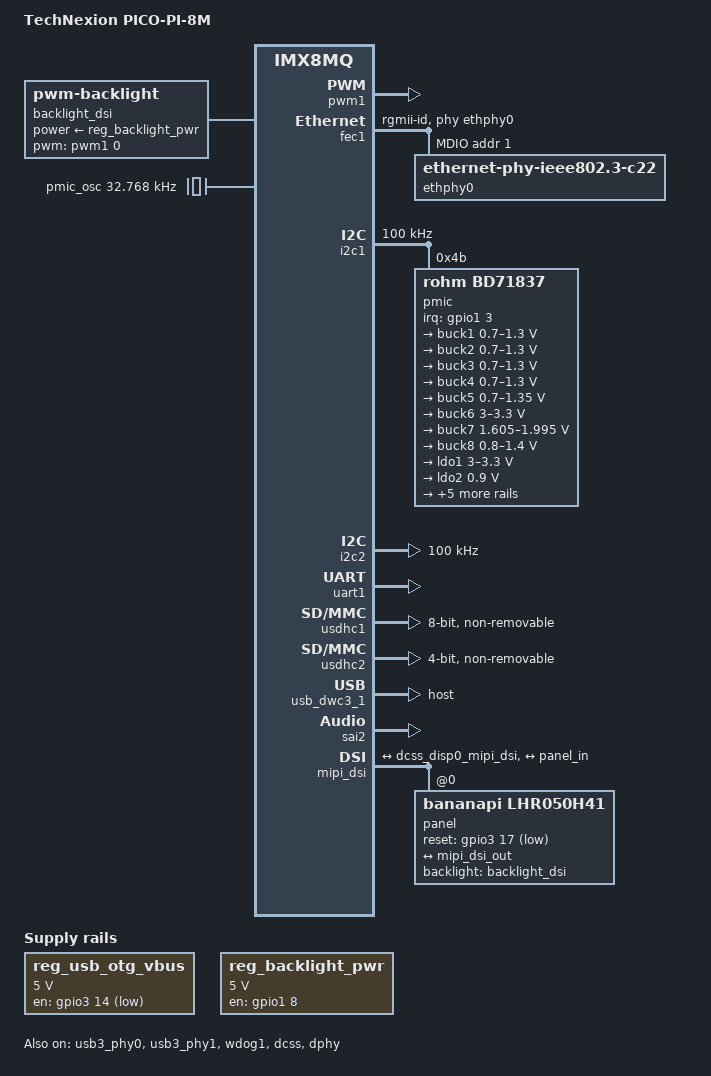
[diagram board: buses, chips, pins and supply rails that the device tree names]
// SPDX-License-Identifier: GPL-2.0+
/*
 * Copyright 2018 Wandboard, Org.
 * Copyright 2017 NXP
 *
 * Author: Richard Hu <hakahu@gmail.com>
 */

/dts-v1/;

#include "imx8mq.dtsi"

/ {
 model = "TechNexion PICO-PI-8M";
 compatible = "technexion,pico-pi-imx8m", "fsl,imx8mq";

 chosen {
   stdout-path = &uart1;
 };

 backlight_dsi: backlight-dsi {
    compatible = "pwm-backlight";
    pwms = <&pwm1 0 50000 0>;
    brightness-levels = <0 36 72 108 144 180 216 255>;
    default-brightness-level = <6>;
    power-supply = <&reg_backlight_pwr>;
    status = "okay";
  };

 pmic_osc: clock-pmic {
   compatible = "fixed-clock";
   #clock-cells = <0>;
   clock-frequency = <32768>;
   clock-output-names = "pmic_osc";
 };

 reg_usb_otg_vbus: regulator-usb-otg-vbus {
   pinctrl-names = "default";
   pinctrl-0 = <&pinctrl_otg_vbus>;
   compatible = "regulator-fixed";
   regulator-name = "usb_otg_vbus";
   regulator-min-microvolt = <5000000>;
   regulator-max-microvolt = <5000000>;
   gpio = <&gpio3 14 GPIO_ACTIVE_LOW>;
 };

 reg_backlight_pwr: regulator_blpwr {
      pinctrl-names = "default";
      pinctrl-0 = <&pinctrl_backlight_pwr>;
      compatible = "regulator-fixed";
      regulator-name = "backlight_pwr";
      regulator-min-microvolt = <5000000>;
      regulator-max-microvolt = <5000000>;
      gpio = <&gpio1 8 GPIO_ACTIVE_HIGH>;
      enable-active-high;
    };
};

&pwm1 {
  pinctrl-names = "default";
  pinctrl-0 = <&pinctrl_bl>;
  status = "okay";
};

&fec1 {
 pinctrl-names = "default";
 pinctrl-0 = <&pinctrl_fec1 &pinctrl_enet_3v3>;
 phy-mode = "rgmii-id";
 phy-handle = <&ethphy0>;
 fsl,magic-packet;
 status = "okay";

 mdio {
   #address-cells = <1>;
   #size-cells = <0>;

   ethphy0: ethernet-phy@1 {
     compatible = "ethernet-phy-ieee802.3-c22";
     reg = <1>;
   };
 };
};

&i2c1 {
 clock-frequency = <100000>;
 pinctrl-names = "default";
 pinctrl-0 = <&pinctrl_i2c1>;
 status = "okay";

 pmic: pmic@4b {
   reg = <0x4b>;
   compatible = "rohm,bd71837";
   /* PMIC BD71837 PMIC_nINT GPIO1_IO12 */
   pinctrl-names = "default";
   pinctrl-0 = <&pinctrl_pmic>;
   clocks = <&pmic_osc>;
   clock-names = "osc";
   clock-output-names = "pmic_clk";
   interrupt-parent = <&gpio1>;
   interrupts = <3 GPIO_ACTIVE_LOW>;
   interrupt-names = "irq";

   regulators {
     buck1: BUCK1 {
       regulator-name = "buck1";
       regulator-min-microvolt = <700000>;
       regulator-max-microvolt = <1300000>;
       regulator-boot-on;
       regulator-ramp-delay = <1250>;
       rohm,dvs-run-voltage = <900000>;
       rohm,dvs-idle-voltage = <850000>;
       rohm,dvs-suspend-voltage = <800000>;
     };

     buck2: BUCK2 {
       regulator-name = "buck2";
       regulator-min-microvolt = <700000>;
       regulator-max-microvolt = <1300000>;
       regulator-boot-on;
       regulator-ramp-delay = <1250>;
       rohm,dvs-run-voltage = <1000000>;
       rohm,dvs-idle-voltage = <900000>;
     };

     buck3: BUCK3 {
       regulator-name = "buck3";
       regulator-min-microvolt = <700000>;
       regulator-max-microvolt = <1300000>;
       regulator-boot-on;
       rohm,dvs-run-voltage = <1000000>;
     };

     buck4: BUCK4 {
       regulator-name = "buck4";
       regulator-min-microvolt = <700000>;
       regulator-max-microvolt = <1300000>;
       regulator-boot-on;
       rohm,dvs-run-voltage = <1000000>;
     };

     buck5: BUCK5 {
       regulator-name = "buck5";
       regulator-min-microvolt = <700000>;
       regulator-max-microvolt = <1350000>;
       regulator-boot-on;
     };

     buck6: BUCK6 {
       regulator-name = "buck6";
       regulator-min-microvolt = <3000000>;
       regulator-max-microvolt = <3300000>;
       regulator-boot-on;
     };

     buck7: BUCK7 {
       regulator-name = "buck7";
       regulator-min-microvolt = <1605000>;
       regulator-max-microvolt = <1995000>;
       regulator-boot-on;
     };

     buck8: BUCK8 {
       regulator-name = "buck8";
       regulator-min-microvolt = <800000>;
       regulator-max-microvolt = <1400000>;
       regulator-boot-on;
     };

     ldo1: LDO1 {
       regulator-name = "ldo1";
       regulator-min-microvolt = <3000000>;
       regulator-max-microvolt = <3300000>;
       regulator-boot-on;
       regulator-always-on;
     };

     ldo2: LDO2 {
       regulator-name = "ldo2";
       regulator-min-microvolt = <900000>;
       regulator-max-microvolt = <900000>;
       regulator-boot-on;
       regulator-always-on;
     };

     ldo3: LDO3 {
       regulator-name = "ldo3";
       regulator-min-microvolt = <1800000>;
       regulator-max-microvolt = <3300000>;
       regulator-boot-on;
     };

     ldo4: LDO4 {
       regulator-name = "ldo4";
       regulator-min-microvolt = <900000>;
       regulator-max-microvolt = <1800000>;
       regulator-boot-on;
     };

     ldo5: LDO5 {
       regulator-name = "ldo5";
       regulator-min-microvolt = <1800000>;
       regulator-max-microvolt = <3300000>;
       regulator-boot-on;
     };

     ldo6: LDO6 {
       regulator-name = "ldo6";
       regulator-min-microvolt = <900000>;
       regulator-max-microvolt = <1800000>;
       regulator-boot-on;
     };

     ldo7: LDO7 {
       regulator-name = "ldo7";
       regulator-min-microvolt = <1800000>;
       regulator-max-microvolt = <3300000>;
       regulator-boot-on;
     };
   };
 };
};

&i2c2 {
 clock-frequency = <100000>;
 pinctrl-names = "default";
 pinctrl-0 = <&pinctrl_i2c2>;
 status = "okay";
};

&uart1 { /* console */
 pinctrl-names = "default";
 pinctrl-0 = <&pinctrl_uart1>;
 status = "okay";
};

&usdhc1 {
 pinctrl-names = "default", "state_100mhz", "state_200mhz";
 pinctrl-0 = <&pinctrl_usdhc1>;
 pinctrl-1 = <&pinctrl_usdhc1_100mhz>;
 pinctrl-2 = <&pinctrl_usdhc1_200mhz>;
 bus-width = <8>;
 non-removable;
 status = "okay";
};

&usdhc2 {
 pinctrl-names = "default", "state_100mhz", "state_200mhz";
 pinctrl-0 = <&pinctrl_usdhc2>, <&pinctrl_usdhc2_gpio>;
 pinctrl-1 = <&pinctrl_usdhc2_100mhz>, <&pinctrl_usdhc2_gpio>;
 pinctrl-2 = <&pinctrl_usdhc2_200mhz>, <&pinctrl_usdhc2_gpio>;
 bus-width = <4>;
 non-removable;
 keep-power-in-suspend;
 //cd-gpios = <&gpio2 12 GPIO_ACTIVE_LOW>;
 status = "okay";
};

&usb3_phy0 {
 status = "okay";
};

&usb3_phy1 {
 status = "okay";
};

&usb_dwc3_1 {
 dr_mode = "host";
 status = "okay";
};

&wdog1 {
 pinctrl-names = "default";
 pinctrl-0 = <&pinctrl_wdog>;
 fsl,ext-reset-output;
 status = "okay";
};

&sai2 {
 pinctrl-names = "default";
 pinctrl-0 = <&pinctrl_sai2>;
 assigned-clocks = <&clk IMX8MQ_CLK_SAI2>;
 assigned-clock-parents = <&clk IMX8MQ_AUDIO_PLL1_OUT>;
 assigned-clock-rates = <24576000>;
 status = "okay";
};

&dcss {
  disp-dev = "mipi_disp";
  clocks = <&clk IMX8MQ_CLK_DISP_APB_ROOT>,
     <&clk IMX8MQ_CLK_DISP_AXI_ROOT>,
     <&clk IMX8MQ_CLK_DISP_RTRM_ROOT>,
     <&clk IMX8MQ_CLK_DC_PIXEL>,
     <&clk IMX8MQ_CLK_DUMMY>,
     <&clk IMX8MQ_CLK_DISP_DTRC>;
  clock-names = "apb", "axi", "rtrm", "pix_div", "pix_out", "dtrc";
  assigned-clocks = <&clk IMX8MQ_CLK_DC_PIXEL>,
        <&clk IMX8MQ_CLK_DISP_AXI>,
        <&clk IMX8MQ_CLK_DISP_RTRM>,
        <&clk IMX8MQ_CLK_DISP_RTRM_ROOT>,
                    <&clk IMX8MQ_VIDEO_PLL1_BYPASS>;
  assigned-clock-parents = <&clk IMX8MQ_VIDEO_PLL1_OUT>,
         <&clk IMX8MQ_SYS1_PLL_800M>,
         <&clk IMX8MQ_SYS1_PLL_800M>,
         <&clk IMX8MQ_CLK_DISP_RTRM>,
         <&clk IMX8MQ_VIDEO_PLL1>;
  assigned-clock-rates = <75000000>,
             <800000000>,
             <400000000>,
             <400000000>,
                         <0>;
  status = "okay";

  dcss_disp0: port@0 {
    dcss_disp0_mipi_dsi: endpoint {
      remote-endpoint = <&mipi_dsi_in>;
    };
  };
};

&dphy {
  status = "okay";
};

&mipi_dsi {
  status = "okay";
  panel@0 {
    compatible = "bananapi,lhr050h41", "ilitek,ili9881c";
    reg = <0>;
    backlight = <&backlight_dsi>;
    reset-gpios = <&gpio3 17 GPIO_ACTIVE_LOW>;
    port {
      panel_in: endpoint {
        remote-endpoint = <&mipi_dsi_out>;
      };
    };
  };

  ports {
    port@0 {
      mipi_dsi_in: endpoint {
        remote-endpoint = <&dcss_disp0_mipi_dsi>;
      };
    };
    port@1 {
      mipi_dsi_out: endpoint {
        remote-endpoint = <&panel_in>;
      };
    };
  };
};

&imx_disp_sub {
  ports = <&dcss_disp0>;
};


&iomuxc {
 pinctrl_enet_3v3: enet3v3grp {
   fsl,pins = <
     MX8MQ_IOMUXC_GPIO1_IO00_GPIO1_IO0 0x19
   >;
 };

 pinctrl_bl: blgrp {
    fsl,pins = <
      MX8MQ_IOMUXC_GPIO1_IO01_PWM1_OUT  0x6 /* DSI_BL_PWM */
    >;
  };

  pinctrl_backlight_pwr: backlight_pwrgrp {
      fsl,pins = <
        MX8MQ_IOMUXC_GPIO1_IO08_GPIO1_IO8   0x19
      >;
    };

 pinctrl_sai2: sai2grp {
    fsl,pins = <
    MX8MQ_IOMUXC_SAI2_TXFS_SAI2_TX_SYNC 0xd6
    MX8MQ_IOMUXC_SAI2_TXC_SAI2_TX_BCLK  0xd6
    MX8MQ_IOMUXC_SAI2_TXD0_SAI2_TX_DATA0  0xd6
    MX8MQ_IOMUXC_SAI2_RXD0_SAI2_RX_DATA0  0xd6
    MX8MQ_IOMUXC_SAI2_MCLK_SAI2_MCLK  0xd6
    >;
  };

 pinctrl_fec1: fec1grp {
   fsl,pins = <
     MX8MQ_IOMUXC_ENET_MDC_ENET1_MDC   0x3
     MX8MQ_IOMUXC_ENET_MDIO_ENET1_MDIO 0x23
     MX8MQ_IOMUXC_ENET_TD3_ENET1_RGMII_TD3 0x1f
     MX8MQ_IOMUXC_ENET_TD2_ENET1_RGMII_TD2 0x1f
     MX8MQ_IOMUXC_ENET_TD1_ENET1_RGMII_TD1 0x1f
     MX8MQ_IOMUXC_ENET_TD0_ENET1_RGMII_TD0 0x1f
     MX8MQ_IOMUXC_ENET_RD3_ENET1_RGMII_RD3 0x91
     MX8MQ_IOMUXC_ENET_RD2_ENET1_RGMII_RD2 0x91
     MX8MQ_IOMUXC_ENET_RD1_ENET1_RGMII_RD1 0x91
     MX8MQ_IOMUXC_ENET_RD0_ENET1_RGMII_RD0 0x91
     MX8MQ_IOMUXC_ENET_TXC_ENET1_RGMII_TXC 0x1f
     MX8MQ_IOMUXC_ENET_RXC_ENET1_RGMII_RXC 0x91
     MX8MQ_IOMUXC_ENET_RX_CTL_ENET1_RGMII_RX_CTL 0x91
     MX8MQ_IOMUXC_ENET_TX_CTL_ENET1_RGMII_TX_CTL 0x1f
     MX8MQ_IOMUXC_GPIO1_IO09_GPIO1_IO9 0x19
   >;
 };

 pinctrl_i2c1: i2c1grp {
   fsl,pins = <
     MX8MQ_IOMUXC_I2C1_SCL_I2C1_SCL      0x4000007f
     MX8MQ_IOMUXC_I2C1_SDA_I2C1_SDA      0x4000007f
   >;
 };

 pinctrl_i2c2: i2c2grp {
   fsl,pins = <
     MX8MQ_IOMUXC_I2C2_SCL_I2C2_SCL      0x4000007f
     MX8MQ_IOMUXC_I2C2_SDA_I2C2_SDA      0x4000007f
   >;
 };

 pinctrl_otg_vbus: otgvbusgrp {
   fsl,pins = <
     MX8MQ_IOMUXC_NAND_DQS_GPIO3_IO14    0x19   /* USB OTG VBUS Enable */
   >;
 };

 pinctrl_pmic: pmicirq {
   fsl,pins = <
     MX8MQ_IOMUXC_GPIO1_IO03_GPIO1_IO3 0x41
   >;
 };

 pinctrl_uart1: uart1grp {
   fsl,pins = <
     MX8MQ_IOMUXC_UART1_RXD_UART1_DCE_RX   0x49
     MX8MQ_IOMUXC_UART1_TXD_UART1_DCE_TX   0x49
   >;
 };

 pinctrl_uart2: uart2grp {
   fsl,pins = <
     MX8MQ_IOMUXC_UART2_RXD_UART2_DCE_RX   0x49
     MX8MQ_IOMUXC_UART2_TXD_UART2_DCE_TX   0x49
     MX8MQ_IOMUXC_UART4_RXD_UART2_DCE_CTS_B    0x49
     MX8MQ_IOMUXC_UART4_TXD_UART2_DCE_RTS_B    0x49
   >;
 };

 pinctrl_usdhc1: usdhc1grp {
   fsl,pins = <
     MX8MQ_IOMUXC_SD1_CLK_USDHC1_CLK     0x83
     MX8MQ_IOMUXC_SD1_CMD_USDHC1_CMD     0xc3
     MX8MQ_IOMUXC_SD1_DATA0_USDHC1_DATA0   0xc3
     MX8MQ_IOMUXC_SD1_DATA1_USDHC1_DATA1   0xc3
     MX8MQ_IOMUXC_SD1_DATA2_USDHC1_DATA2   0xc3
     MX8MQ_IOMUXC_SD1_DATA3_USDHC1_DATA3   0xc3
     MX8MQ_IOMUXC_SD1_DATA4_USDHC1_DATA4   0xc3
     MX8MQ_IOMUXC_SD1_DATA5_USDHC1_DATA5   0xc3
     MX8MQ_IOMUXC_SD1_DATA6_USDHC1_DATA6   0xc3
     MX8MQ_IOMUXC_SD1_DATA7_USDHC1_DATA7   0xc3
     MX8MQ_IOMUXC_SD1_STROBE_USDHC1_STROBE   0x83
   >;
 };

 pinctrl_usdhc1_100mhz: usdhc1grp100mhz {
   fsl,pins = <
     MX8MQ_IOMUXC_SD1_CLK_USDHC1_CLK     0x85
     MX8MQ_IOMUXC_SD1_CMD_USDHC1_CMD     0xc5
     MX8MQ_IOMUXC_SD1_DATA0_USDHC1_DATA0   0xc5
     MX8MQ_IOMUXC_SD1_DATA1_USDHC1_DATA1   0xc5
     MX8MQ_IOMUXC_SD1_DATA2_USDHC1_DATA2   0xc5
     MX8MQ_IOMUXC_SD1_DATA3_USDHC1_DATA3   0xc5
     MX8MQ_IOMUXC_SD1_DATA4_USDHC1_DATA4   0xc5
     MX8MQ_IOMUXC_SD1_DATA5_USDHC1_DATA5   0xc5
     MX8MQ_IOMUXC_SD1_DATA6_USDHC1_DATA6   0xc5
     MX8MQ_IOMUXC_SD1_DATA7_USDHC1_DATA7   0xc5
     MX8MQ_IOMUXC_SD1_STROBE_USDHC1_STROBE   0x85
   >;
 };

 pinctrl_usdhc1_200mhz: usdhc1grp200mhz {
   fsl,pins = <
     MX8MQ_IOMUXC_SD1_CLK_USDHC1_CLK     0x87
     MX8MQ_IOMUXC_SD1_CMD_USDHC1_CMD     0xc7
     MX8MQ_IOMUXC_SD1_DATA0_USDHC1_DATA0   0xc7
     MX8MQ_IOMUXC_SD1_DATA1_USDHC1_DATA1   0xc7
     MX8MQ_IOMUXC_SD1_DATA2_USDHC1_DATA2   0xc7
     MX8MQ_IOMUXC_SD1_DATA3_USDHC1_DATA3   0xc7
     MX8MQ_IOMUXC_SD1_DATA4_USDHC1_DATA4   0xc7
     MX8MQ_IOMUXC_SD1_DATA5_USDHC1_DATA5   0xc7
     MX8MQ_IOMUXC_SD1_DATA6_USDHC1_DATA6   0xc7
     MX8MQ_IOMUXC_SD1_DATA7_USDHC1_DATA7   0xc7
     MX8MQ_IOMUXC_SD1_STROBE_USDHC1_STROBE   0x87
   >;
 };

 pinctrl_usdhc2_gpio: usdhc2grpgpio {
   fsl,pins = <
     MX8MQ_IOMUXC_SD2_CD_B_GPIO2_IO12  0x41
   >;
 };

 pinctrl_usdhc2: usdhc2grp {
   fsl,pins = <
     MX8MQ_IOMUXC_SD2_CLK_USDHC2_CLK     0x83
     MX8MQ_IOMUXC_SD2_CMD_USDHC2_CMD     0xc3
     MX8MQ_IOMUXC_SD2_DATA0_USDHC2_DATA0   0xc3
     MX8MQ_IOMUXC_SD2_DATA1_USDHC2_DATA1   0xc3
     MX8MQ_IOMUXC_SD2_DATA2_USDHC2_DATA2   0xc3
     MX8MQ_IOMUXC_SD2_DATA3_USDHC2_DATA3   0xc3
     MX8MQ_IOMUXC_GPIO1_IO04_USDHC2_VSELECT    0xc1
   >;
 };

 pinctrl_usdhc2_100mhz: usdhc2grp100mhz {
   fsl,pins = <
     MX8MQ_IOMUXC_SD2_CLK_USDHC2_CLK     0x85
     MX8MQ_IOMUXC_SD2_CMD_USDHC2_CMD     0xc5
     MX8MQ_IOMUXC_SD2_DATA0_USDHC2_DATA0   0xc5
     MX8MQ_IOMUXC_SD2_DATA1_USDHC2_DATA1   0xc5
     MX8MQ_IOMUXC_SD2_DATA2_USDHC2_DATA2   0xc5
     MX8MQ_IOMUXC_SD2_DATA3_USDHC2_DATA3   0xc5
     MX8MQ_IOMUXC_GPIO1_IO04_USDHC2_VSELECT    0xc1
   >;
 };

 pinctrl_usdhc2_200mhz: usdhc2grp200mhz {
   fsl,pins = <
     MX8MQ_IOMUXC_SD2_CLK_USDHC2_CLK     0x87
     MX8MQ_IOMUXC_SD2_CMD_USDHC2_CMD     0xc7
     MX8MQ_IOMUXC_SD2_DATA0_USDHC2_DATA0   0xc7
     MX8MQ_IOMUXC_SD2_DATA1_USDHC2_DATA1   0xc7
     MX8MQ_IOMUXC_SD2_DATA2_USDHC2_DATA2   0xc7
     MX8MQ_IOMUXC_SD2_DATA3_USDHC2_DATA3   0xc7
     MX8MQ_IOMUXC_GPIO1_IO04_USDHC2_VSELECT    0xc1
   >;
 };

 pinctrl_wdog: wdoggrp {
   fsl,pins = <
     MX8MQ_IOMUXC_GPIO1_IO02_WDOG1_WDOG_B 0xc6
   >;
 };
};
